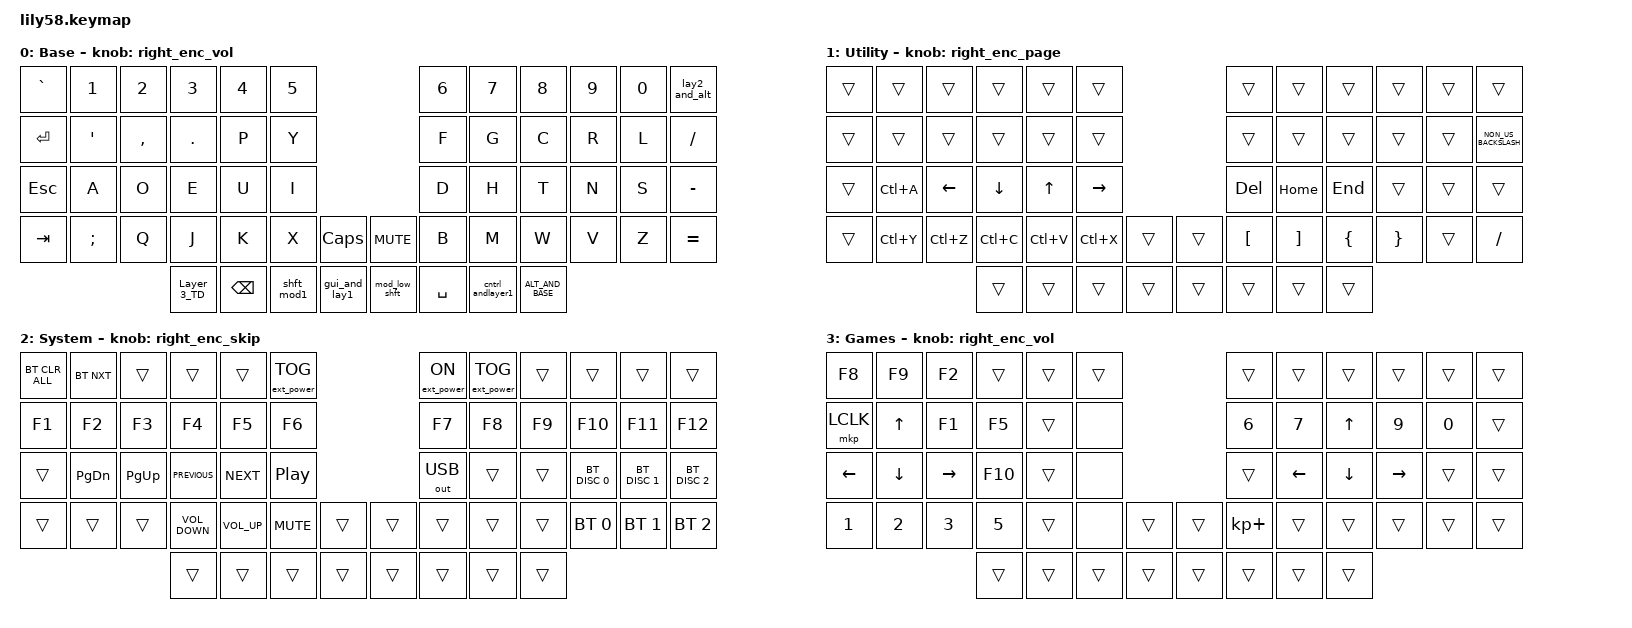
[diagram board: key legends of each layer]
/*
 * Copyright (c) 2020 The ZMK Contributors
 *
 * SPDX-License-Identifier: MIT
 */

#include <behaviors.dtsi>
#include <dt-bindings/zmk/bt.h>
#include <dt-bindings/zmk/ext_power.h>
#include <dt-bindings/zmk/keys.h>
#include <dt-bindings/zmk/mouse.h>
#include <dt-bindings/zmk/outputs.h>

/ {
    macros {
        mac_gui_lay1: mac_gui_lay1 {
            compatible = "zmk,behavior-macro";
            #binding-cells = <0>;
            bindings =
                <&macro_press>,
                <&mo 1>,
                <&macro_press>,
                <&kp LEFT_GUI>,
                <&macro_pause_for_release>,
                <&macro_release>,
                <&kp LEFT_GUI>,
                <&macro_release>,
                <&mo 1>;

            label = "MAC_GUI_LAY1";
        };

        mac_cntrl_shft_lay1: mac_cntrl_shft_lay1 {
            compatible = "zmk,behavior-macro";
            #binding-cells = <0>;
            bindings =
                <&macro_press>,
                <&mo 1>,
                <&macro_press>,
                <&kp LS(LEFT_CONTROL)>,
                <&macro_pause_for_release>,
                <&macro_release>,
                <&kp LS(LEFT_CONTROL)>,
                <&macro_release>,
                <&mo 1>;

            label = "MAC_CNTRL_SHFT_LAY1";
        };

        mac_shift_lay1: mac_shift_lay1 {
            compatible = "zmk,behavior-macro";
            #binding-cells = <0>;
            bindings =
                <&macro_press>,
                <&mo 1>,
                <&macro_press>,
                <&kp LEFT_SHIFT>,
                <&macro_pause_for_release>,
                <&macro_release>,
                <&kp LEFT_SHIFT>,
                <&macro_release>,
                <&mo 1>;

            label = "MAC_SHIFT_LAY1";
        };

        mac_gui_shift_lay1: mac_gui_shift_lay1 {
            compatible = "zmk,behavior-macro";
            #binding-cells = <0>;
            bindings =
                <&macro_press>,
                <&mo 1>,
                <&macro_press>,
                <&kp LS(LEFT_GUI)>,
                <&macro_pause_for_release>,
                <&macro_release>,
                <&kp LS(LEFT_GUI)>,
                <&macro_release>,
                <&mo 1>;

            label = "MAC_GUI_SHIFT_LAY1";
        };

        mac_alt_lay1: mac_alt_lay1 {
            compatible = "zmk,behavior-macro";
            #binding-cells = <0>;
            bindings =
                <&macro_press>,
                <&mo 1>,
                <&macro_press>,
                <&kp LEFT_ALT>,
                <&macro_pause_for_release>,
                <&macro_release>,
                <&kp LEFT_ALT>,
                <&macro_release>,
                <&mo 1>;

            label = "MAC_ALT_LAY1";
        };

        mac_cntrl_lay1: mac_cntrl_lay1 {
            compatible = "zmk,behavior-macro";
            #binding-cells = <0>;
            bindings =
                <&macro_press>,
                <&mo 1>,
                <&macro_press>,
                <&kp LEFT_CONTROL>,
                <&macro_pause_for_release>,
                <&macro_release>,
                <&kp LEFT_CONTROL>,
                <&macro_release>,
                <&mo 1>;

            label = "MAC_CNTRL_LAY1";
        };
    };

    behaviors {
        gui_and_lay1: gui_and_lay1 {
            compatible = "zmk,behavior-tap-dance";
            label = "GUI_AND_LAY1";
            #binding-cells = <0>;
            tapping-term-ms = <250>;
            bindings = <&mac_gui_lay1>, <&kp LEFT_GUI>, <&mac_gui_shift_lay1>;
        };

        shft_mod1: shft_mod1 {
            compatible = "zmk,behavior-tap-dance";
            label = "SHFT_MOD1";
            #binding-cells = <0>;
            tapping-term-ms = <275>;
            bindings = <&kp LEFT_SHIFT>, <&mo 1>, <&mac_shift_lay1>;
        };

        cntrl_andlayer1: cntrl_andlayer1 {
            compatible = "zmk,behavior-tap-dance";
            label = "CNTRL_ANDLAYER1";
            #binding-cells = <0>;
            bindings =
                <&kp LEFT_CONTROL>,
                <&mac_cntrl_lay1>,
                <&mac_cntrl_shft_lay1>;

            tapping-term-ms = <275>;
        };

        mod_low_shft: mod_low_shft {
            compatible = "zmk,behavior-tap-dance";
            label = "MOD_LOW_SHFT";
            #binding-cells = <0>;
            bindings = <&mo 1>, <&kp LEFT_SHIFT>, <&mac_shift_lay1>;

            tapping-term-ms = <230>;
        };

        lay2_and_alt: lay2_and_alt {
            compatible = "zmk,behavior-tap-dance";
            label = "LAY2_AND_ALT";
            #binding-cells = <0>;
            bindings = <&mo 2>, <&kp LEFT_ALT>, <&mac_alt_lay1>;

            tapping-term-ms = <230>;
        };

        Layer_3_TD: Layer_3_TD {
            compatible = "zmk,behavior-tap-dance";
            label = "LAYER_3_TD";
            #binding-cells = <0>;
            bindings = <&mo 3>, <&mo 2>, <&tog 3>;

            tapping-term-ms = <250>;
        };

        ALT_AND_BASE: ALT_AND_BASE {
            compatible = "zmk,behavior-tap-dance";
            label = "ALT_AND_BASE";
            #binding-cells = <0>;
            bindings = <&none>, <&kp LEFT_ALT>, <&tog 0>;
            tapping-term-ms = <250>;
        };


        /*
         * Encoder defs:
         * https://zmk.dev/docs/behaviors/sensor-rotate
         * https://zmk.dev/docs/features/encoders
         */

        right_enc_vol: right_enc_vol {
            compatible = "zmk,behavior-sensor-rotate";
            #sensor-binding-cells = <0>;
            bindings = <&kp C_VOLUME_UP>, <&kp C_VOLUME_DOWN>;
        };

        right_enc_page: right_enc_page {
            compatible = "zmk,behavior-sensor-rotate";
            #sensor-binding-cells = <0>;
            bindings = <&kp PG_DN>, <&kp PG_UP>;
        };

        right_enc_skip: right_enc_skip {
            compatible = "zmk,behavior-sensor-rotate";
            #sensor-binding-cells = <0>;
            bindings = <&kp C_PREV>, <&kp C_NEXT>;
        };

        rot_kp: sensor_rotate_kp {
            compatible = "zmk,behavior-sensor-rotate-var";
            #sensor-binding-cells = <2>;
            bindings = <&kp>, <&kp>;
        };


    };

    keymap {
        compatible = "zmk,keymap";

        default_layer {
            // ------------------------------------------------------------------------------------------------------------
            // |  ESC  |  1  |  2  |  3   |  4   |  5   |                   |  6   |  7    |  8    |  9   |   0   |   `   |
            // |  TAB  |  Q  |  W  |  E   |  R   |  T   |                   |  Y   |  U    |  I    |  O   |   P   |   -   |
            // |  CTRL |  A  |  S  |  D   |  F   |  G   |                   |  H   |  J    |  K    |  L   |   ;   |   '   |
            // | SHIFT |  Z  |  X  |  C   |  V   |  B   |   "["  |  |  "]"  |  N   |  M    |  ,    |  .   |   /   | SHIFT |
            //                     | ALT  | GUI  | LOWER|  SPACE |  | ENTER | RAISE| BSPC  | GUI   |

            display-name = "Base";
            bindings = <
&kp GRAVE   &kp N1          &kp N2     &kp N3       &kp N4         &kp N5                                      &kp N6     &kp N7            &kp N8         &kp N9  &kp N0  &lay2_and_alt
&kp ENTER   &kp APOSTROPHE  &kp COMMA  &kp PERIOD   &kp P          &kp Y                                       &kp F      &kp G             &kp C          &kp R   &kp L   &kp SLASH
&kp ESCAPE  &kp A           &kp O      &kp E        &kp U          &kp I                                       &kp D      &kp H             &kp T          &kp N   &kp S   &kp MINUS
&kp TAB     &kp SEMICOLON   &kp Q      &kp J        &kp K          &kp X       &kp CAPSLOCK     &kp C_MUTE     &kp B      &kp M             &kp W          &kp V   &kp Z   &kp EQUAL
                                       &Layer_3_TD  &kp BACKSPACE  &shft_mod1  &gui_and_lay1    &mod_low_shft  &kp SPACE  &cntrl_andlayer1  &ALT_AND_BASE
            >;
            // sensor-bindings = <&rot_kp C_VOLUME_UP C_VOLUME_DOWN>;
            sensor-bindings = <&right_enc_vol>;
        };

        utility_layer {
            display-name = "Utility";
            bindings = <
&trans  &trans     &trans     &trans     &trans     &trans                       &trans            &trans             &trans          &trans           &trans  &trans
&trans  &trans     &trans     &trans     &trans     &trans                       &trans            &trans             &trans          &trans           &trans  &kp NON_US_BACKSLASH
&trans  &kp LC(A)  &kp LEFT   &kp DOWN   &kp UP     &kp RIGHT                    &kp DELETE        &kp HOME           &kp END         &trans           &trans  &trans
&trans  &kp LC(Y)  &kp LC(Z)  &kp LC(C)  &kp LC(V)  &kp LC(X)  &trans    &trans  &kp LEFT_BRACKET  &kp RIGHT_BRACKET  &kp LEFT_BRACE  &kp RIGHT_BRACE  &trans  &kp SLASH
                              &trans     &trans     &trans     &trans    &trans  &trans            &trans             &trans
            >;
            // sensor-bindings = <&rot_kp PG_UP PG_DN>;
            sensor-bindings = <&right_enc_page>;
        };

        lower_layer {
            // ------------------------------------------------------------------------------------------------------------
            // | BTCLR | BT1 | BT2 |  BT3 |  BT4 |  BT5 |                   |      |       |       |      |       |       |
            // |  F1   |  F2 |  F3 |  F4  |  F5  |  F6  |                   |  F7  |  F8   |  F9   |  F10 |  F11  |  F12  |
            // |   `   |  !  |  @  |  #   |  $   |  %   |                   |  ^   |  &    |  *    |  (   |   )   |   ~   |
            // |       |     |     |      |      |      |        |  |       |      |  _    |  +    |  {   |   }   |  "|"  |
            //                     |      |      |      |        |  |       |      |       |       |

            display-name = "System";
            bindings = <
&bt BT_CLR_ALL  &bt BT_NXT     &trans       &trans             &trans           &ext_power EP_TOG                    &ext_power EP_ON  &ext_power EP_TOG  &trans  &trans         &trans         &trans
&kp F1          &kp F2         &kp F3       &kp F4             &kp F5           &kp F6                               &kp F7            &kp F8             &kp F9  &kp F10        &kp F11        &kp F12
&trans          &kp PAGE_DOWN  &kp PAGE_UP  &kp C_PREVIOUS     &kp C_NEXT       &kp C_PP                             &out OUT_USB      &trans             &trans  &bt BT_DISC 0  &bt BT_DISC 1  &bt BT_DISC 2
&trans          &trans         &trans       &kp C_VOLUME_DOWN  &kp C_VOLUME_UP  &kp K_MUTE         &trans    &trans  &trans            &trans             &trans  &bt BT_SEL 0   &bt BT_SEL 1   &bt BT_SEL 2
                                            &trans             &trans           &trans             &trans    &trans  &trans            &trans             &trans
            >;
            // sensor-bindings = <&rot_kp C_PREV C_NEXT>;
            sensor-bindings = <&right_enc_skip>;
        };

        raise_layer {
            // ------------------------------------------------------------------------------------------------------------
            // |       |     |     |      |      |      |                   |      |       |       |      |       |       |
            // |   `   |  1  |  2  |  3   |  4   |  5   |                   |  6   |   7   |   8   |  9   |   0   |       |
            // |   F1  |  F2 |  F3 |  F4  |  F5  |  F6  |                   |      |   <-  |   v   |  ^   |  ->   |       |
            // |   F7  |  F8 |  F9 |  F10 |  F11 |  F12 |        |  |       |  +   |   -   |   =   |  [   |   ]   |   \   |
            //                     |      |      |      |        |  |       |      |       |       |

            display-name = "Games";
            bindings = <
&kp F8        &kp F9        &kp F2        &trans        &trans  &trans                    &trans       &trans    &trans    &trans     &trans  &trans
&mkp LCLK     &kp UP        &kp F1        &kp F5        &trans  &none                     &kp N6       &kp N7    &kp UP    &kp N9     &kp N0  &trans
&kp LEFT      &kp DOWN      &kp RIGHT     &kp F10       &trans  &none                     &trans       &kp LEFT  &kp DOWN  &kp RIGHT  &trans  &trans
&kp NUMBER_1  &kp NUMBER_2  &kp NUMBER_3  &kp NUMBER_5  &trans  &none   &trans    &trans  &kp KP_PLUS  &trans    &trans    &trans     &trans  &trans
                                          &trans        &trans  &trans  &trans    &trans  &trans       &trans    &trans
            >;
            // sensor-bindings = <&rot_kp C_VOLUME_UP C_VOLUME_DOWN>;
            sensor-bindings = <&right_enc_vol>;
        };
    };
};
